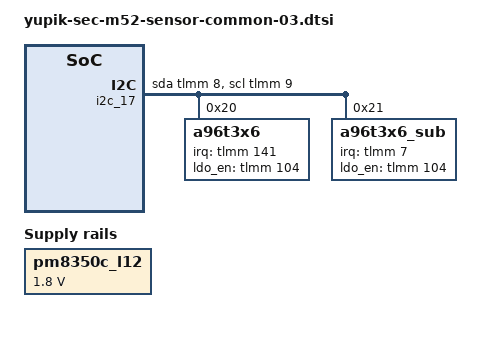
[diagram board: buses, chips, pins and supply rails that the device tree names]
/* Copyright (c) 2021, The Linux Foundation. All rights reserved.
 *
 * This program is free software; you can redistribute it and/or modify
 * it under the terms of the GNU General Public License version 2 and
 * only version 2 as published by the Free Software Foundation.
 *
 * This program is distributed in the hope that it will be useful,
 * but WITHOUT ANY WARRANTY; without even the implied warranty of
 * MERCHANTABILITY or FITNESS FOR A PARTICULAR PURPOSE.  See the
 * GNU General Public License for more details.
 */

&pm8350c_l12 {
	regulator-min-microvolt = <1800000>;
	regulator-max-microvolt = <1800000>;
	qcom,init-voltage = <1800000>;
	regulator-always-on;
};
&soc {
	i2c_17: i2c@17 { /* SW I2C */
		status = "ok";

		cell-index = <17>;
		compatible = "i2c-gpio";
		gpios = <&tlmm 8 0 /* sda */
			 &tlmm 9 0 /* scl */
		>;
		i2c-gpio,delay-us = <2>;
		address-cells = <1>;
		size-cells = <0>;
		pinctrl-names = "default";
		pinctrl-0 = <&grip_i2c_active>;

		a96t3x6@20 {
			compatible = "a96t3x6";
			reg = <0x20>;
			pinctrl-names = "default";
			pinctrl-0 = <&grip_int_active>;

			interrupt-parent = <&tlmm>;
			interrupts = <141 0>;

			a96t3x6,irq_gpio = <&tlmm 141 0>;
			a96t3x6,ldo_en = <&tlmm 104 0>;
			a96t3x6,fw_path = "abov/a96t356_m52xq.bin";
			a96t3x6,firmup_cmd = <0x3b>;
		};

		a96t3x6_sub@21 {
			compatible = "a96t3x6_sub";
			reg = <0x21>;
			pinctrl-names = "default";
			pinctrl-0 = <&grip_sub_int_active>;

			interrupt-parent = <&tlmm>;
			interrupts = <7 0>;

			a96t3x6,irq_gpio = <&tlmm 7 0>;
			a96t3x6,ldo_en = <&tlmm 104 0>;
			a96t3x6,fw_path = "abov/a96t356_m52xq_sub.bin";
			a96t3x6,firmup_cmd = <0x3b>;
		};
	};
};

